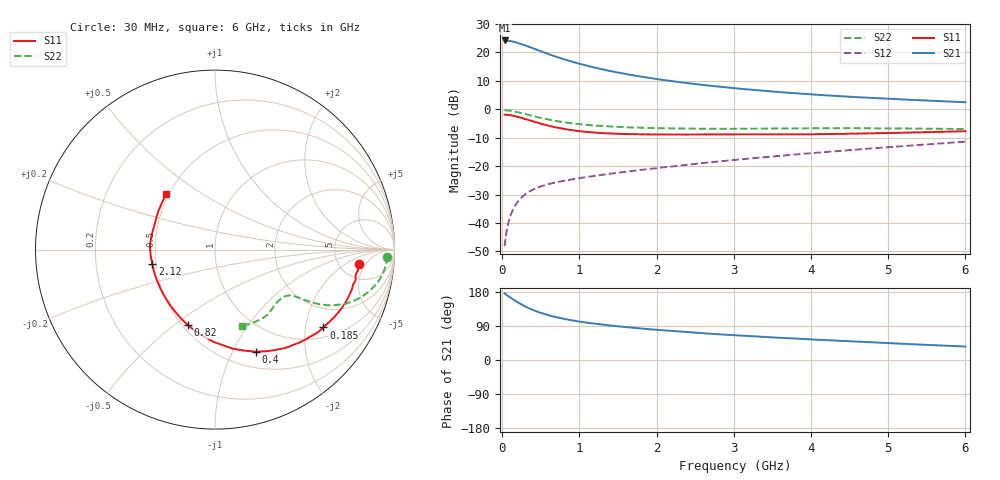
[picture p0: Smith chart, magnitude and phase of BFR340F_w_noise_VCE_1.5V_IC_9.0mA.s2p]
! Infineon Technologies  Discrete & RF Semiconductors
! BFR340F
! VCE =  1.5 V,  IC =  9.0 mA
! Common Emitter S-Parameters:  Nov 2015
# GHz  S  MA  R  50
!  f  S11  S21  S12  S22
! GHz  MAG  ANG  MAG  ANG  MAG  ANG  MAG  ANG
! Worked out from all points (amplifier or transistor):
!   206 points, 30 MHz to 6 GHz, reference 50 ohm
!   highest |S21| = 24.2 dB at 30 MHz (marker M1)
!   |S21| within 3 dB of that: start of sweep to 420 MHz
!   unconditionally stable (mu >= 1): 1.557 GHz to 5.438 GHz
!   at 200 MHz: K = 0.22, MSG = 28.0 dB, |S12| = -32.5 dB
!   at 1.56 GHz: K = 1.00, MAG = 17.2 dB, |S12| = -22.1 dB
!   at 6 GHz: K = 0.97, MSG = 6.9 dB, |S12| = -11.4 dB
!   lowest NFmin = 1.39 dB at 450 MHz
!   S11 on the Smith chart (normalised r, x): 30 MHz: 7.54, -3.54; 185 MHz: 1.30, -2.51; 400 MHz: 0.68, -1.23; 820 MHz: 0.53, -0.56; 2.12 GHz: 0.48, -0.09; 6 GHz: 0.49, +0.36
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0.03  0.8044 -5.9  16.26 176.0  0.0039 85.2  0.961 -2.3
0.05  0.7962 -10.2  16.13 172.3  0.0065 83.7  0.9583 -4.1
0.09  0.7913 -18.1  15.98 167.0  0.0114 81.4  0.9478 -7.4
0.15  0.7639 -29.5  15.36 158.5  0.0184 75.7  0.9198 -11.9
0.185  0.7432 -35.7  14.92 154.1  0.022 72.9  0.8986 -14.2
0.24  0.71 -45.0  14.17 147.4  0.0273 69.0  0.8636 -17.4
0.3  0.6738 -54.4  13.28 140.9  0.0323 65.5  0.8231 -20.4
0.4  0.6124 -68.3  11.79 131.7  0.0388 61.2  0.759 -23.8
0.5  0.558 -80.4  10.47 124.3  0.0441 58.3  0.7031 -26.2
0.6  0.5143 -90.9  9.335 118.0  0.0483 56.6  0.6576 -27.6
0.7  0.4791 -100.2  8.374 112.9  0.052 55.8  0.6205 -28.5
0.82  0.4465 -109.7  7.429 107.8  0.0559 55.5  0.586 -29.1
1.04  0.4063 -124.7  6.121 100.3  0.0627 56.1  0.5409 -29.8
1.2  0.3884 -133.8  5.402 95.7  0.0674 56.9  0.5175 -30.3
1.4  0.3753 -143.3  4.709 90.9  0.0734 58.3  0.4972 -31.1
1.7  0.3635 -155.0  3.949 84.8  0.0827 60.3  0.4775 -32.6
2.02  0.3597 -164.4  3.376 79.3  0.0931 62.4  0.4656 -34.4
2.12  0.3586 -167.2  3.231 77.7  0.0965 63.0  0.463 -35.2
3.1  0.3622 173.1  2.286 64.4  0.1321 67.0  0.4542 -43.2
4.1  0.3644 157.7  1.792 53.4  0.1734 68.6  0.4659 -51.2
5.1  0.3849 143.5  1.509 43.6  0.2204 68.6  0.4607 -60.9
6  0.4114 131.2  1.332 35.5  0.2692 67.1  0.4497 -70.8
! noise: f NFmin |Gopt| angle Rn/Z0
0.45  1.39  0.29  0  0.28
0.9  1.47  0.28  10  0.31
1.9  1.87  0.14  0  0.29
2.4  2.1  0.08  -1  0.3
